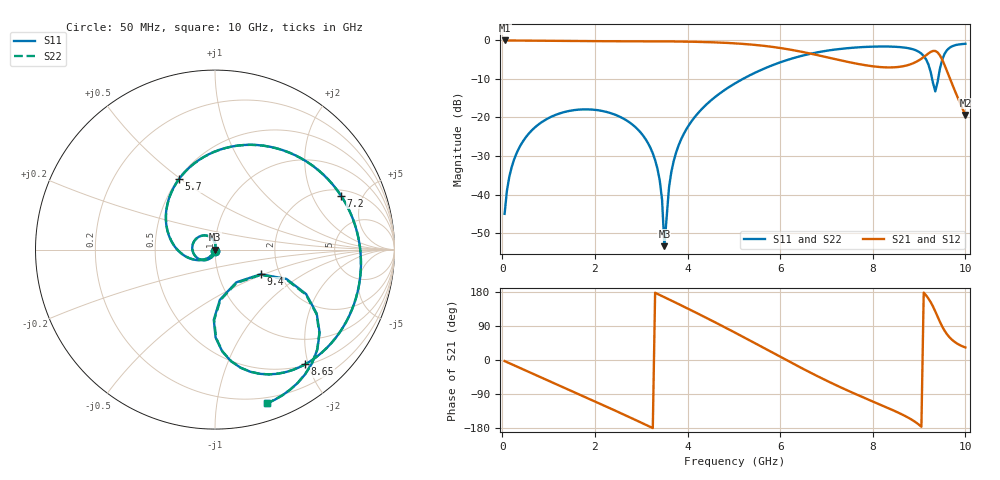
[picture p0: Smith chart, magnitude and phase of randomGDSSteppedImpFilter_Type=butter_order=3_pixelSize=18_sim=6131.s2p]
! freq	dB(S11)	phase(S11)	dB(S12)	phase(S12)
!  dB(S21)	phase(S21)	dB(S22)	phase(S22)
!S-par simulation data
#  GHz  S  DB  R 50
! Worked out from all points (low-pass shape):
!   200 points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, 50 MHz to 10 GHz, reference 50 ohm
!   highest |S21| = -0.01 dB at 50 MHz (marker M1); lowest = -19.4 dB at 10 GHz (marker M2)
!   |S21| within 3 dB of the highest: start of sweep to 6.49 GHz; 9.249 GHz to 9.387 GHz (138.5 MHz wide, 1.49 % of centre)
!   lowest |S11| = -53.4 dB at 3.5 GHz (marker M3), VSWR 1.00, Z = 50.2 + j0.0545 ohm
!   |S11| at or under -10 dB: start of sweep to 5.194 GHz; 9.282 GHz to 9.411 GHz (129.1 MHz wide, 1.38 % of centre)
!   |S22| runs from -53.6 to -0.9 dB; largest |S21 - S12| = 0
!   S11 on the Smith chart (normalised r, x): 50 MHz: 1.00, -0.01; 5.7 GHz: 0.50, +0.50; 7.2 GHz: 2.33, +3.36; 8.65 GHz: 0.52, -1.95; 9.4 GHz: 1.60, -0.48; 10 GHz: 0.15, -1.39
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0.05  -45.02 -92.0  -0.01 -2.8  -0.01 -2.8  -45.02 -92.0
0.2  -33.00 -100.8  -0.02 -11.0  -0.02 -11.0  -33.00 -100.8
0.5  -25.27 -117.7  -0.05 -27.5  -0.05 -27.5  -25.27 -117.7
1.75  -17.90 173.1  -0.18 -95.7  -0.18 -95.7  -17.90 173.2
2.9  -22.79 108.9  -0.21 -159.6  -0.21 -159.6  -22.79 109.2
3.4  -36.36 78.9  -0.24 171.6  -0.24 171.6  -36.36 80.9
3.45  -41.35 74.9  -0.24 168.7  -0.24 168.7  -41.36 78.7
3.5  -53.41 14.7  -0.24 165.8  -0.24 165.8  -53.57 137.9
3.65  -34.15 -113.4  -0.26 156.9  -0.26 156.9  -34.15 -115.2
3.85  -26.00 -126.0  -0.29 145.0  -0.29 145.0  -26.00 -126.8
4.5  -15.63 -166.0  -0.47 105.4  -0.47 105.4  -15.63 -166.4
5.05  -10.98 159.1  -0.78 70.7  -0.78 70.7  -10.98 158.9
5.7  -7.09 116.8  -1.47 28.4  -1.47 28.4  -7.08 116.6
6.7  -3.34 52.6  -3.53 -36.2  -3.53 -36.2  -3.34 52.5
7.2  -2.34 23.2  -4.88 -66.0  -4.88 -66.0  -2.34 23.1
8.35  -1.59 -36.4  -7.01 -127.9  -7.01 -127.9  -1.59 -36.4
8.65  -1.80 -51.9  -6.72 -144.8  -6.72 -144.8  -1.80 -51.9
9.2  -6.19 -89.6  -3.40 162.5  -3.40 162.5  -6.17 -89.3
9.35  -13.25 -57.1  -2.73 128.3  -2.73 128.3  -13.11 -57.1
9.4  -10.77 -28.3  -3.10 114.4  -3.10 114.4  -10.69 -28.8
9.6  -2.57 -38.4  -7.86 68.4  -7.86 68.4  -2.56 -38.7
10  -0.87 -71.2  -19.35 33.1  -19.35 33.1  -0.87 -71.4
